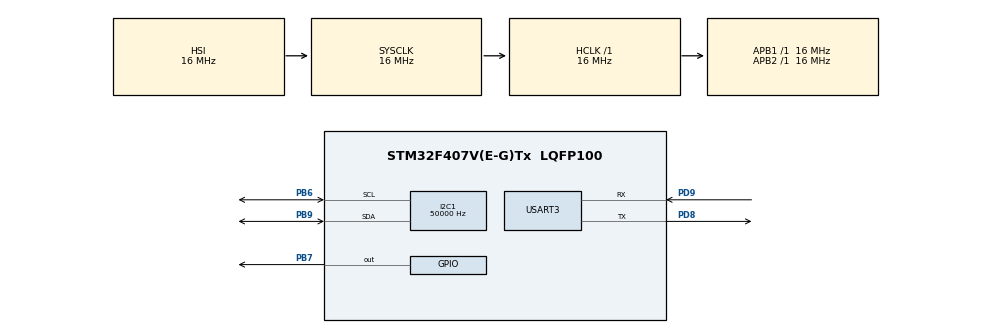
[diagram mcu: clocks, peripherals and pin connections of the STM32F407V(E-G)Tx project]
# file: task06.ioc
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Dma.Request0=USART3_RX
Dma.USART3_RX.0.Direction=DMA_PERIPH_TO_MEMORY
Dma.USART3_RX.0.FIFOMode=DMA_FIFOMODE_DISABLE
Dma.USART3_RX.0.Instance=DMA1_Stream1
Dma.USART3_RX.0.MemDataAlignment=DMA_MDATAALIGN_BYTE
Dma.USART3_RX.0.MemInc=DMA_MINC_ENABLE
Dma.USART3_RX.0.Mode=DMA_NORMAL
Dma.USART3_RX.0.PeriphDataAlignment=DMA_PDATAALIGN_BYTE
Dma.USART3_RX.0.PeriphInc=DMA_PINC_DISABLE
Dma.USART3_RX.0.Priority=DMA_PRIORITY_LOW
I2C1.ClockSpeed=50000
Mcu.Family=STM32F4
Mcu.Name=STM32F407V(E-G)Tx
Mcu.Package=LQFP100
NVIC.DMA1_Stream1_IRQn=true\:0\:0\:false\:false\:true\:false\:true\:true
NVIC.PriorityGroup=NVIC_PRIORITYGROUP_4
NVIC.USART3_IRQn=true\:0\:0\:false\:false\:true\:true\:true\:true
PB6.Mode=I2C
PB6.Signal=I2C1_SCL
PB7.Signal=GPIO_Output
PB9.Mode=I2C
PB9.Signal=I2C1_SDA
PD8.Mode=Asynchronous
PD8.Signal=USART3_TX
PD9.Mode=Asynchronous
PD9.Signal=USART3_RX
ProjectManager.HeapSize=0x200
ProjectManager.StackSize=0x400
ProjectManager.TargetToolchain=STM32CubeIDE
RCC.AHBFreq_Value=16000000
RCC.APB1Freq_Value=16000000
RCC.APB2Freq_Value=16000000
RCC.CortexFreq_Value=16000000
RCC.HSE_VALUE=25000000
RCC.HSI_VALUE=16000000
RCC.LSE_VALUE=32768
RCC.SYSCLKFreq_VALUE=16000000
RCC.VCOOutputFreq_Value=192000000
USART3.VirtualMode=VM_ASYNC
board=custom

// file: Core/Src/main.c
/* USER CODE BEGIN Header */
/**
  ******************************************************************************
  * @file           : main.c
  * @brief          : Main program body
  ******************************************************************************
  * @attention
  *
  * Copyright (c) 2023 STMicroelectronics.
  * All rights reserved.
  *
  * This software is licensed under terms that can be found in the LICENSE file
  * in the root directory of this software component.
  * If no LICENSE file comes with this software, it is provided AS-IS.
  *
  ******************************************************************************
  */
/* USER CODE END Header */
#include "main.h"

/* USER CODE BEGIN Includes */

#include "string.h"
#include "stdlib.h"

#include "led_controller.h"

/* USER CODE END Includes */

/* USER CODE BEGIN PD */

#define RxBuf_SIZE   10
#define MainBuf_SIZE 20

/* USER CODE END PD */

I2C_HandleTypeDef hi2c1;

UART_HandleTypeDef huart3;
DMA_HandleTypeDef hdma_usart3_rx;

/* USER CODE BEGIN PV */

led_controller_t pwm_controler;
uint8_t selectedLedNumber;

uint8_t RxBuf[RxBuf_SIZE];
/* USER CODE END PV */

void SystemClock_Config(void);
static void MX_GPIO_Init(void);
static void MX_DMA_Init(void);
static void MX_I2C1_Init(void);
static void MX_USART3_UART_Init(void);
/* USER CODE BEGIN PFP */

void doComand(uint8_t* MainBuf);

void changeLedAllState(uint8_t* MainBuf);
void changeLedFrequency(uint8_t* MainBuf);
void changeLedSleepMode(uint8_t* MainBuf);
void setLedDelayAndDuty(uint8_t* MainBuf, uint8_t activeSent);

/* USER CODE END PFP */

/* USER CODE BEGIN 0 */

char COMMAND[] ="LED_ALL: {ON,OFF}\r\n"
				"LED_FREQ: {number between 25 and 1500}\r\n"
				"LED_SLEEP: {ON,OFF}\r\n"
				"LED_SET N: {N - number between 1 and 16}";

typedef enum
{
	LED_СOM_UNSELECTED = 0,
	LED_ALL =   1,
	LED_FREQ =  2,
	LED_SLEEP = 3,
	LED_SET_N = 4
} command_t;

command_t command = LED_СOM_UNSELECTED;

typedef enum
{
	DELAY = 0,
	DUTY = 1
} sent_user_delay_or_duty_t;

/* USER CODE END 0 */

int main(void)
{

  /* MCU Configuration--------------------------------------------------------*/

  /* Reset of all peripherals, Initializes the Flash interface and the Systick. */
  HAL_Init();

  /* Configure the system clock */
  SystemClock_Config();

  /* Initialize all configured peripherals */
  MX_GPIO_Init();
  MX_DMA_Init();
  MX_I2C1_Init();
  MX_USART3_UART_Init();

  /* Infinite loop */
  /* USER CODE BEGIN WHILE */

  HAL_Delay(10);

  HAL_UARTEx_ReceiveToIdle_DMA(&huart3, RxBuf, RxBuf_SIZE);
  __HAL_DMA_DISABLE_IT(&hdma_usart3_rx, DMA_IT_HT);

  HAL_GPIO_WritePin(GPIOB, GPIO_PIN_7, GPIO_PIN_RESET);

  uint8_t devId = 0x80;
  led_controller_init(&pwm_controler, devId);

  while (1)
  {
    /* USER CODE END WHILE */

  }
}

void SystemClock_Config(void)
{
  RCC_OscInitTypeDef RCC_OscInitStruct = {0};
  RCC_ClkInitTypeDef RCC_ClkInitStruct = {0};

  /** Configure the main internal regulator output voltage
  */
  __HAL_RCC_PWR_CLK_ENABLE();
  __HAL_PWR_VOLTAGESCALING_CONFIG(PWR_REGULATOR_VOLTAGE_SCALE1);

  /** Initializes the RCC Oscillators according to the specified parameters
  * in the RCC_OscInitTypeDef structure.
  */
  RCC_OscInitStruct.OscillatorType = RCC_OSCILLATORTYPE_HSI;
  RCC_OscInitStruct.HSIState = RCC_HSI_ON;
  RCC_OscInitStruct.HSICalibrationValue = RCC_HSICALIBRATION_DEFAULT;
  RCC_OscInitStruct.PLL.PLLState = RCC_PLL_NONE;
  if (HAL_RCC_OscConfig(&RCC_OscInitStruct) != HAL_OK)
  {
    Error_Handler();
  }

  /** Initializes the CPU, AHB and APB buses clocks
  */
  RCC_ClkInitStruct.ClockType = RCC_CLOCKTYPE_HCLK|RCC_CLOCKTYPE_SYSCLK
                              |RCC_CLOCKTYPE_PCLK1|RCC_CLOCKTYPE_PCLK2;
  RCC_ClkInitStruct.SYSCLKSource = RCC_SYSCLKSOURCE_HSI;
  RCC_ClkInitStruct.AHBCLKDivider = RCC_SYSCLK_DIV1;
  RCC_ClkInitStruct.APB1CLKDivider = RCC_HCLK_DIV1;
  RCC_ClkInitStruct.APB2CLKDivider = RCC_HCLK_DIV1;

  if (HAL_RCC_ClockConfig(&RCC_ClkInitStruct, FLASH_LATENCY_0) != HAL_OK)
  {
    Error_Handler();
  }
}

static void MX_I2C1_Init(void)
{

  hi2c1.Instance = I2C1;
  hi2c1.Init.ClockSpeed = 50000;
  hi2c1.Init.DutyCycle = I2C_DUTYCYCLE_2;
  hi2c1.Init.OwnAddress1 = 0;
  hi2c1.Init.AddressingMode = I2C_ADDRESSINGMODE_7BIT;
  hi2c1.Init.DualAddressMode = I2C_DUALADDRESS_DISABLE;
  hi2c1.Init.OwnAddress2 = 0;
  hi2c1.Init.GeneralCallMode = I2C_GENERALCALL_DISABLE;
  hi2c1.Init.NoStretchMode = I2C_NOSTRETCH_DISABLE;
  if (HAL_I2C_Init(&hi2c1) != HAL_OK)
  {
    Error_Handler();
  }

}

static void MX_USART3_UART_Init(void)
{

  huart3.Instance = USART3;
  huart3.Init.BaudRate = 115200;
  huart3.Init.WordLength = UART_WORDLENGTH_8B;
  huart3.Init.StopBits = UART_STOPBITS_1;
  huart3.Init.Parity = UART_PARITY_NONE;
  huart3.Init.Mode = UART_MODE_TX_RX;
  huart3.Init.HwFlowCtl = UART_HWCONTROL_NONE;
  huart3.Init.OverSampling = UART_OVERSAMPLING_16;
  if (HAL_UART_Init(&huart3) != HAL_OK)
  {
    Error_Handler();
  }

}

static void MX_DMA_Init(void)
{

  /* DMA controller clock enable */
  __HAL_RCC_DMA1_CLK_ENABLE();

  /* DMA interrupt init */
  /* DMA1_Stream1_IRQn interrupt configuration */
  HAL_NVIC_SetPriority(DMA1_Stream1_IRQn, 0, 0);
  HAL_NVIC_EnableIRQ(DMA1_Stream1_IRQn);

}

static void MX_GPIO_Init(void)
{
  GPIO_InitTypeDef GPIO_InitStruct = {0};

  /* GPIO Ports Clock Enable */
  __HAL_RCC_GPIOD_CLK_ENABLE();
  __HAL_RCC_GPIOB_CLK_ENABLE();

  /*Configure GPIO pin Output Level */
  HAL_GPIO_WritePin(GPIOB, GPIO_PIN_7, GPIO_PIN_RESET);

  /*Configure GPIO pin : PB7 */
  GPIO_InitStruct.Pin = GPIO_PIN_7;
  GPIO_InitStruct.Mode = GPIO_MODE_OUTPUT_PP;
  GPIO_InitStruct.Pull = GPIO_NOPULL;
  GPIO_InitStruct.Speed = GPIO_SPEED_FREQ_LOW;
  HAL_GPIO_Init(GPIOB, &GPIO_InitStruct);

}

/* USER CODE BEGIN 4 */

void sendI2C(led_controller_t* self)
{
	HAL_I2C_Master_Transmit(&hi2c1, self->deviceID, (uint8_t*) &self->TxBuffer, 2, 1000);
}

void HAL_UARTEx_RxEventCallback(UART_HandleTypeDef *huart, uint16_t Size)
{
	if (huart->Instance == USART3)
	{
		uint8_t MainBuf[MainBuf_SIZE] = "";
		memcpy(MainBuf, RxBuf, Size);

		HAL_UARTEx_ReceiveToIdle_DMA(&huart3, RxBuf, RxBuf_SIZE);
		__HAL_DMA_DISABLE_IT(&hdma_usart3_rx, DMA_IT_HT);

		doComand(MainBuf);

		if (!strcmp((char*)MainBuf, "COMMAND"))
		{
			HAL_UART_Transmit_IT(&huart3, (uint8_t *)COMMAND, sizeof(COMMAND));
		}

		if (!strcmp((char*)MainBuf, "LED_ALL"))
		{
			command = LED_ALL;
			HAL_UART_Transmit_IT(&huart3, (uint8_t *)"", 1);
		}
		else if (!strcmp((char*)MainBuf, "LED_FREQ"))
		{
			command = LED_FREQ;
			HAL_UART_Transmit_IT(&huart3, (uint8_t *)"", 1);
		}
		else if (!strcmp((char*)MainBuf, "LED_SLEEP"))
		{
			command = LED_SLEEP;
			HAL_UART_Transmit_IT(&huart3, (uint8_t *)"", 1);
		}
		else if (!strncmp((char*)MainBuf, "LED_SET", 7))
		{
			command = LED_SET_N;

			selectedLedNumber = atoi((char*)(MainBuf + 8)); //Number after LED_SET
			if (!(selectedLedNumber >=1 && selectedLedNumber <= 16))
			{
				HAL_UART_Transmit_IT(&huart3, (uint8_t *)"Incorrect select", 16);
			}
			else
			{
				HAL_UART_Transmit_IT(&huart3, (uint8_t *)"Set delay and next duty (0-100):", 32);
			}
		}
		else
		{
			char MessageUART[] = "Incorrect command\r\nType COMMAND for help";
			HAL_UART_Transmit_IT(&huart3, (uint8_t *)MessageUART, sizeof(MessageUART) - 1);
		}
	}

}

void doComand(uint8_t* MainBuf)
{
	static sent_user_delay_or_duty_t activeSent;

	switch (command)
	{
		case LED_СOM_UNSELECTED:
			//continue
			break;
		case LED_ALL:
			changeLedAllState(MainBuf);
			break;
		case LED_FREQ:
			changeLedFrequency(MainBuf);
			break;
		case LED_SLEEP:
			changeLedSleepMode(MainBuf);
			break;
		case LED_SET_N:
			setLedDelayAndDuty(MainBuf, activeSent);
			activeSent++;
			activeSent%=2;
			break;
		default:
			command = LED_СOM_UNSELECTED;
			break;
	}
}

void changeLedAllState(uint8_t* MainBuf)
{
	if (!strcmp((char*)MainBuf, "ON"))
	{
		led_controller_on_all(&pwm_controler);
		HAL_UART_Transmit_IT(&huart3, (uint8_t *)"LED ALL ON", 10);
		HAL_UART_Transmit_IT(&huart3, (uint8_t *)"LED ALL ON1", 11);
		HAL_UART_Transmit_IT(&huart3, (uint8_t *)"LED ALL ON2", 11);
	}
	else if (!strcmp((char*)MainBuf, "OFF"))
	{
		led_controller_off_all(&pwm_controler);
		HAL_UART_Transmit_IT(&huart3, (uint8_t *)"LED ALL OFF", 11);
	}
	else
	{
		command = LED_СOM_UNSELECTED;
	}
}

void changeLedFrequency(uint8_t* MainBuf)
{
	uint16_t frequency = atoi((char*)MainBuf);
	if (frequency > 25 && frequency < 1500)
	{
		led_controller_set_PWM_frequency(&pwm_controler, frequency);
		HAL_UART_Transmit_IT(&huart3, (uint8_t *)"Frequency is set", 16);
	}
	else
	{
		HAL_UART_Transmit_IT(&huart3, (uint8_t *)"Frequency is incorrect", 22);
		command = LED_СOM_UNSELECTED;
	}
}

void changeLedSleepMode(uint8_t* MainBuf)
{
	if (!strcmp((char*)MainBuf, "ON"))
	{
		led_controller_sleep_enable(&pwm_controler);
		HAL_UART_Transmit_IT(&huart3, (uint8_t *)"LED SLEEP ON", 12);
	}
	else if (!strcmp((char*)MainBuf, "OFF"))
	{
		led_controller_sleep_disable(&pwm_controler);
		HAL_UART_Transmit_IT(&huart3, (uint8_t *)"LED SLEEP OFF", 13);
	}
	else
	{
		command = LED_СOM_UNSELECTED;
	}
}

void setLedDelayAndDuty(uint8_t* MainBuf, uint8_t activeSent)
{
	static uint8_t DelayAndDuty[2];
	static char Message[2][12] = {"Delay is set", "Duty is set"};

	DelayAndDuty[activeSent] = atoi((char*)MainBuf);
	if (DelayAndDuty[activeSent] >= 0 && DelayAndDuty[activeSent] <= 100)
	{
		HAL_UART_Transmit_IT(&huart3, (uint8_t *) Message[activeSent], sizeof(Message[activeSent]));
	}
	else
	{
		HAL_UART_Transmit_IT(&huart3, (uint8_t *)"Delay is not correct", 20);
		command = LED_СOM_UNSELECTED;
		return;
	}

	if (activeSent == DUTY)
	{
		set_PWM_DelayAndDuty(&pwm_controler, DelayAndDuty[0], DelayAndDuty[1], selectedLedNumber-1);
		command = LED_СOM_UNSELECTED;
	}
}

/* USER CODE END 4 */

void Error_Handler(void)
{
  __disable_irq();
  while (1)
  {
  }
}
